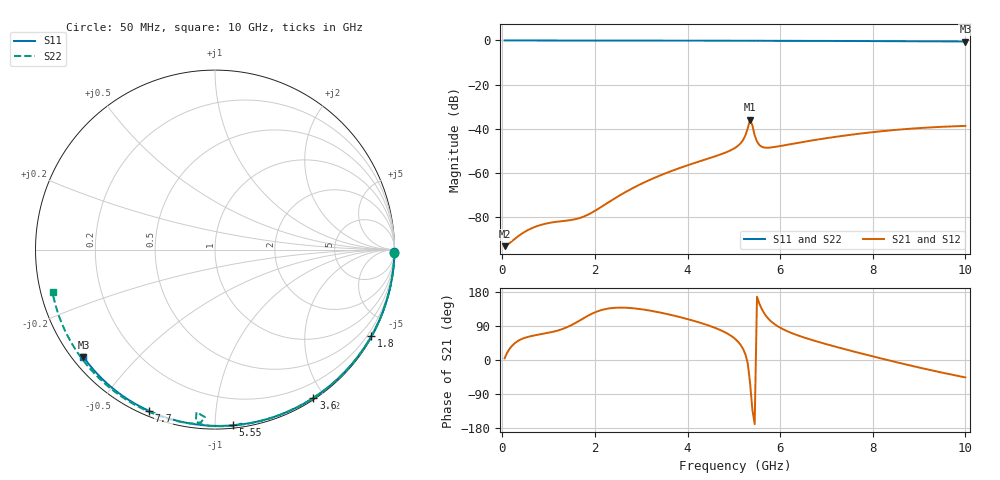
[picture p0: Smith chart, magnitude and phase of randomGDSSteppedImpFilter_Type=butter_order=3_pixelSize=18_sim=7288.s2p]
! freq	dB(S11)	phase(S11)	dB(S12)	phase(S12)
!  dB(S21)	phase(S21)	dB(S22)	phase(S22)
!S-par simulation data
#  GHz  S  DB  R 50
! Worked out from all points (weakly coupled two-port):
!   200 points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, 50 MHz to 10 GHz, reference 50 ohm
!   highest |S21| = -35.94 dB at 5.35 GHz (marker M1); lowest = -93.2 dB at 50 MHz (marker M2)
!   lowest |S11| = -0.5 dB at 10 GHz (marker M3), VSWR 36.08, Z = 1.56 - j17.8 ohm
!   |S11| at or under -10 dB: nowhere
!   |S22| runs from -0.8 to 0.0 dB; largest |S21 - S12| = 0
!   S11 on the Smith chart (normalised r, x): 50 MHz: open; 1.8 GHz: 0.03, -3.88; 3.6 GHz: 0.02, -1.86; 5.55 GHz: 0.02, -1.11; 7.7 GHz: 0.02, -0.67; 10 GHz: 0.03, -0.36
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0.05  -0.00 -0.8  -93.17 4.3  -93.17 4.3  -0.00 -1.0
0.85  -0.02 -13.8  -83.43 68.4  -83.43 68.4  -0.02 -16.3
1.75  -0.04 -28.1  -79.84 109.9  -79.84 109.9  -0.04 -33.1
1.8  -0.04 -28.9  -79.40 113.5  -79.40 113.5  -0.04 -34.1
2.75  -0.06 -43.7  -67.63 137.3  -67.63 137.3  -0.07 -51.3
3.4  -0.07 -53.5  -61.20 125.5  -61.20 125.5  -0.08 -62.7
3.6  -0.08 -56.4  -59.55 120.2  -59.55 120.2  -0.09 -66.2
4.75  -0.11 -73.1  -51.33 76.7  -51.33 76.7  -0.13 -85.6
5.05  -0.12 -77.3  -48.32 53.2  -48.32 53.2  -0.15 -90.7
5.15  -0.12 -78.7  -46.47 39.2  -46.47 39.2  -0.16 -92.6
5.25  -0.13 -80.1  -43.00 14.9  -43.00 14.9  -0.22 -94.9
5.35  -0.17 -81.5  -35.94 -59.8  -35.94 -59.8  -0.81 -96.5
5.4  -0.16 -82.0  -38.38 -131.0  -38.38 -131.0  -0.58 -93.4
5.45  -0.14 -82.7  -42.95 -169.2  -42.95 -169.2  -0.31 -94.6
5.5  -0.14 -83.4  -45.77 167.0  -45.77 167.0  -0.23 -95.9
5.55  -0.14 -84.1  -47.32 149.2  -47.32 149.2  -0.21 -97.0
5.65  -0.14 -85.5  -48.48 124.3  -48.48 124.3  -0.19 -98.9
5.75  -0.15 -86.8  -48.57 108.4  -48.57 108.4  -0.19 -100.6
6.7  -0.19 -99.5  -45.24 52.3  -45.24 52.3  -0.23 -115.5
7.7  -0.26 -112.3  -42.25 18.9  -42.25 18.9  -0.30 -130.5
8.35  -0.31 -120.4  -40.78 -1.0  -40.78 -1.0  -0.36 -140.1
10  -0.48 -140.8  -38.69 -45.9  -38.69 -45.9  -0.58 -165.3
